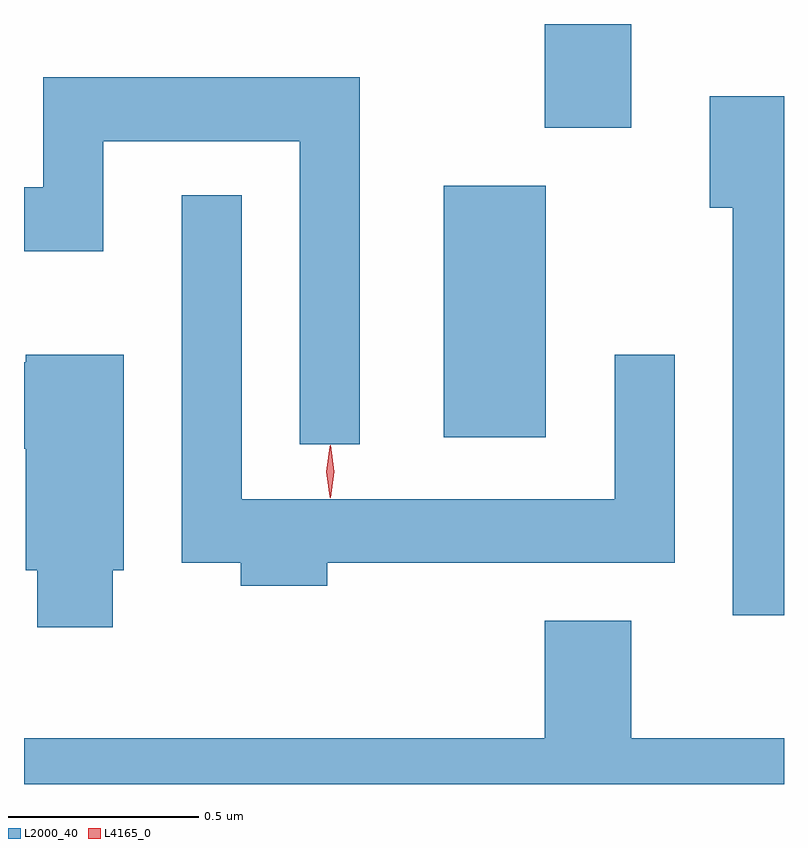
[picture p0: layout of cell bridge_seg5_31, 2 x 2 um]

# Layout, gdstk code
import gdstk
lib = gdstk.Library(unit=1e-6, precision=1e-09)
def R(c, l, rs):  # rectangles x0, y0, x1, y1
    for r in rs: c.add(gdstk.rectangle(r[:2], r[2:], *l))
def P(c, l, *ps):  # polygons
    for p in ps: c.add(gdstk.Polygon(p, *l))
L2000_40 = (2000, 40)
L4165_0 = (4165, 0)

bridge_seg5_31 = lib.new_cell('bridge_seg5_31')
R(bridge_seg5_31, L2000_40, [(1257.176,1477.836,1257.444,1478.499), (1257.441,1478.651,1257.669,1478.924)])
P(bridge_seg5_31, L2000_40, [(1256.954,1478.784),(1256.121,1478.784),(1256.121,1478.494),(1256.071,1478.494),(1256.071,1478.326),(1256.279,1478.326),(1256.279,1478.616),(1256.796,1478.616),(1256.796,1477.818),(1256.954,1477.818)],
  [(1258.071,1478.734),(1257.876,1478.734),(1257.876,1478.441),(1257.936,1478.441),(1257.936,1477.368),(1258.071,1477.368)],
  [(1256.869,1477.506),(1257.784,1477.506),(1257.784,1478.053),(1257.626,1478.053),(1257.626,1477.674),(1256.644,1477.674),(1256.644,1478.473),(1256.486,1478.473),(1256.486,1477.506),(1256.641,1477.506),(1256.641,1477.446),(1256.869,1477.446)],
  [(1256.304,1477.486),(1256.334,1477.486),(1256.334,1478.054),(1256.076,1478.054),(1256.076,1478.034),(1256.071,1478.034),(1256.071,1477.806),(1256.076,1477.806),(1256.076,1477.486),(1256.106,1477.486),(1256.106,1477.336),(1256.304,1477.336)],
  [(1258.071,1477.044),(1257.669,1477.044),(1257.669,1477.354),(1257.441,1477.354),(1257.441,1477.044),(1256.071,1477.044),(1256.071,1476.924),(1258.071,1476.924)])
P(bridge_seg5_31, L4165_0, [(1256.877,1477.677),(1256.868,1477.747),(1256.877,1477.816),(1256.878,1477.816),(1256.878,1477.816),(1256.888,1477.746),(1256.878,1477.677),(1256.878,1477.677)],
  [(1256.876,1477.679),(1256.876,1477.68),(1256.866,1477.746),(1256.876,1477.812),(1256.876,1477.813),(1256.877,1477.812),(1256.886,1477.746),(1256.877,1477.68)])

lib.write_gds('bridge_seg5_31.gds')
